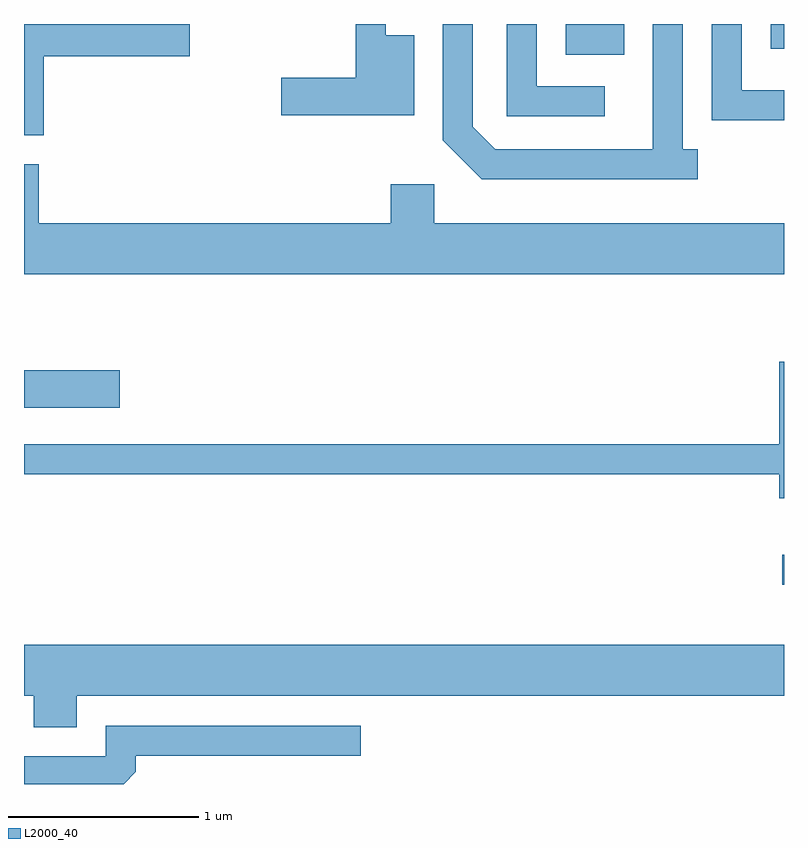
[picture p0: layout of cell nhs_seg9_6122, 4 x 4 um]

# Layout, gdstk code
import gdstk
lib = gdstk.Library(unit=1e-6, precision=1e-09)
def R(c, l, rs):  # rectangles x0, y0, x1, y1
    for r in rs: c.add(gdstk.rectangle(r[:2], r[2:], *l))
def P(c, l, *ps):  # polygons
    for p in ps: c.add(gdstk.Polygon(p, *l))
L2000_40 = (2000, 40)

nhs_seg9_6122 = lib.new_cell('nhs_seg9_6122')
R(nhs_seg9_6122, L2000_40, [(369.603,2023.481,369.611,2023.639), (365.611,2024.411,366.114,2024.609), (368.461,2026.271,368.769,2026.432), (369.541,2026.301,369.611,2026.432)])
P(nhs_seg9_6122, L2000_40, [(369.611,2026.084),(369.389,2026.084),(369.389,2026.432),(369.231,2026.432),(369.231,2025.926),(369.611,2025.926)],
  [(369.158,2025.774),(369.079,2025.774),(369.079,2026.432),(368.921,2026.432),(368.921,2025.774),(368.092,2025.774),(367.974,2025.892),(367.974,2026.432),(367.816,2026.432),(367.816,2025.819),(368.019,2025.616),(369.158,2025.616)],
  [(365.714,2026.261),(366.484,2026.261),(366.484,2026.432),(365.611,2026.432),(365.611,2025.846),(365.714,2025.846)],
  [(368.668,2026.104),(368.309,2026.104),(368.309,2026.432),(368.151,2026.432),(368.151,2025.946),(368.668,2025.946)],
  [(367.664,2026.374),(367.514,2026.374),(367.514,2026.432),(367.356,2026.432),(367.356,2026.149),(366.966,2026.149),(366.966,2025.951),(367.664,2025.951)],
  [(369.611,2025.384),(367.769,2025.384),(367.769,2025.589),(367.541,2025.589),(367.541,2025.384),(365.689,2025.384),(365.689,2025.694),(365.611,2025.694),(365.611,2025.116),(369.611,2025.116)],
  [(369.611,2024.654),(369.586,2024.654),(369.586,2024.219),(365.611,2024.219),(365.611,2024.061),(369.586,2024.061),(369.586,2023.936),(369.611,2023.936)],
  [(365.889,2022.896),(369.611,2022.896),(369.611,2023.164),(365.611,2023.164),(365.611,2022.896),(365.661,2022.896),(365.661,2022.731),(365.889,2022.731)],
  [(366.199,2022.497),(366.199,2022.581),(367.383,2022.581),(367.383,2022.739),(366.041,2022.739),(366.041,2022.579),(365.611,2022.579),(365.611,2022.432),(366.135,2022.432)])

lib.write_gds('nhs_seg9_6122.gds')
